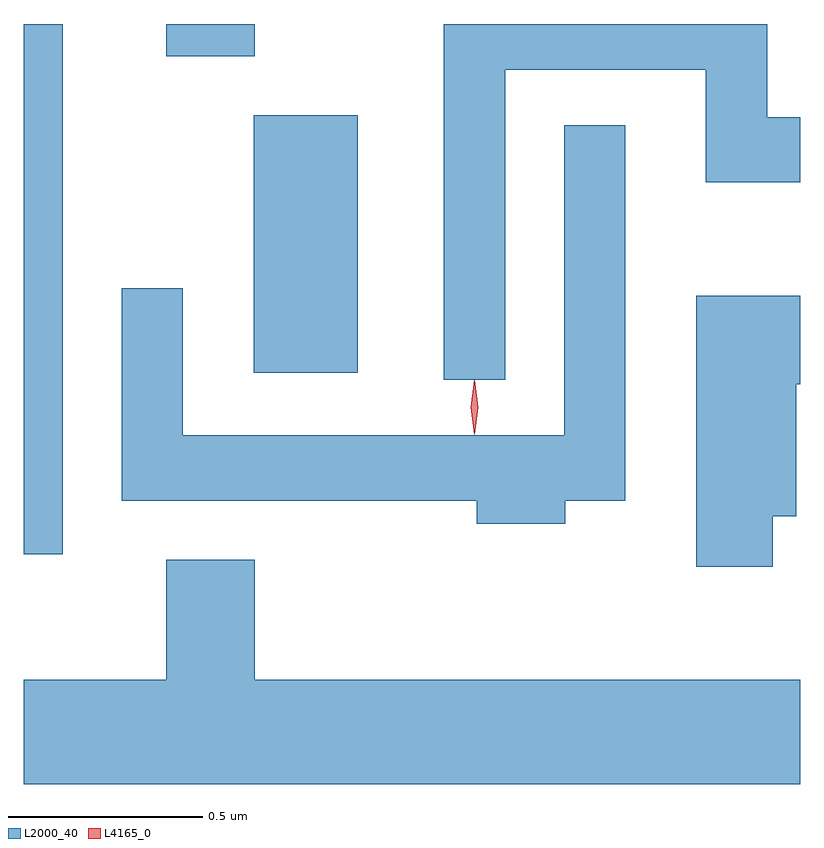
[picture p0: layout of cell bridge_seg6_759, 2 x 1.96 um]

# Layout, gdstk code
import gdstk
lib = gdstk.Library(unit=1e-6, precision=1e-09)
def R(c, l, rs):  # rectangles x0, y0, x1, y1
    for r in rs: c.add(gdstk.rectangle(r[:2], r[2:], *l))
def P(c, l, *ps):  # polygons
    for p in ps: c.add(gdstk.Polygon(p, *l))
L2000_40 = (2000, 40)
L4165_0 = (4165, 0)

bridge_seg6_759 = lib.new_cell('bridge_seg6_759')
R(bridge_seg6_759, L2000_40, [(408.924,1566.168,409.024,1567.534), (409.516,1566.636,409.784,1567.299), (409.291,1567.451,409.519,1567.534)])
P(bridge_seg6_759, L2000_40, [(410.164,1567.416),(410.681,1567.416),(410.681,1567.126),(410.924,1567.126),(410.924,1567.294),(410.839,1567.294),(410.839,1567.534),(410.006,1567.534),(410.006,1566.618),(410.164,1566.618)],
  [(410.319,1566.306),(410.474,1566.306),(410.474,1567.273),(410.316,1567.273),(410.316,1566.474),(409.334,1566.474),(409.334,1566.853),(409.176,1566.853),(409.176,1566.306),(410.091,1566.306),(410.091,1566.246),(410.319,1566.246)],
  [(410.854,1566.266),(410.914,1566.266),(410.914,1566.606),(410.924,1566.606),(410.924,1566.834),(410.656,1566.834),(410.656,1566.136),(410.854,1566.136)],
  [(410.924,1565.844),(409.519,1565.844),(409.519,1566.154),(409.291,1566.154),(409.291,1565.844),(408.924,1565.844),(408.924,1565.576),(410.924,1565.576)])
P(bridge_seg6_759, L4165_0, [(410.084,1566.477),(410.075,1566.546),(410.084,1566.616),(410.085,1566.616),(410.086,1566.616),(410.095,1566.546),(410.086,1566.477),(410.085,1566.477)],
  [(410.085,1566.479),(410.084,1566.48),(410.075,1566.546),(410.084,1566.612),(410.085,1566.613),(410.085,1566.612),(410.095,1566.546),(410.085,1566.48)])

lib.write_gds('bridge_seg6_759.gds')
